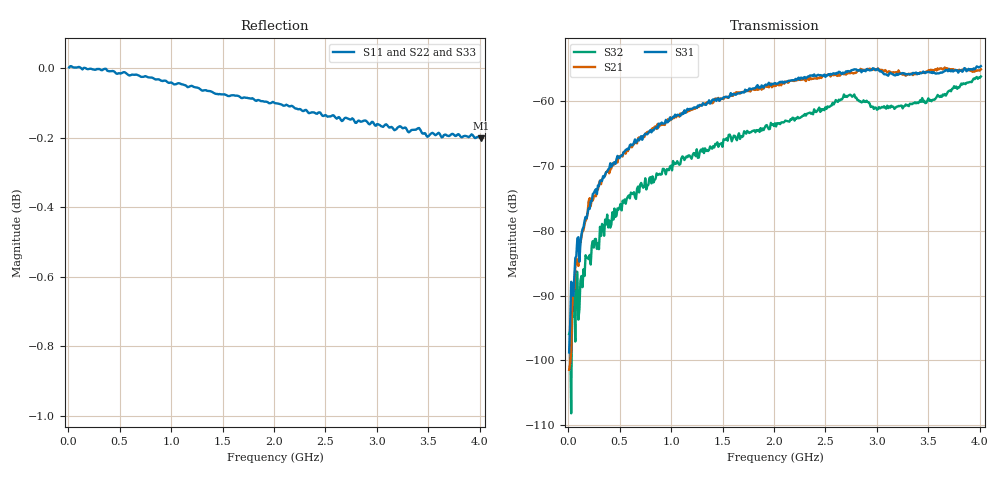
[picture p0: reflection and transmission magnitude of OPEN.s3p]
!Keysight Technologies,N5232A,MY52221226,A.10.49.03
!Date: Thursday, April 14, 2016 11:28:06
!Correction: S11(Full 6 Port(1,2,3,4,5,6))
!S12(Full 6 Port(1,2,3,4,5,6))
!S13(Full 6 Port(1,2,3,4,5,6))
!S21(Full 6 Port(1,2,3,4,5,6))
!S22(Full 6 Port(1,2,3,4,5,6))
!S23(Full 6 Port(1,2,3,4,5,6))
!S31(Full 6 Port(1,2,3,4,5,6))
!S32(Full 6 Port(1,2,3,4,5,6))
!S33(Full 6 Port(1,2,3,4,5,6))
!S3P File: Measurements: <S11,S12,S13>,
!<S21,S22,S23>,
!<S31,S32,S33>:
# Hz S  dB  R 50
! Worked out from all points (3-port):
!   401 points, 10 MHz to 4.01 GHz, reference 50 ohm
!   strongest paths, dB at 10 MHz, 1.01 GHz, 2.01 GHz, 3.01 GHz, 4.01 GHz:
!     S31: -98.8, -62.7, -57.3, -55.0, -54.7
!     S21: -101.5, -62.8, -57.7, -55.0, -55.2
!     S32: -95.9, -70.7, -63.5, -61.3, -56.3
!   lowest |S11| = -0.2 dB at 4.01 GHz (marker M1), VSWR 86.21, Z = 1.77 + j71.5 ohm
!   |S11| at or under -10 dB: nowhere
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1e7  0.00 -0.7  -100.70 144.6  -97.35 81.8
     -101.45 115.1  0.01 -0.7  -95.85 42.5
     -98.77 31.6  -95.95 109.5  0.00 -0.7
1.4e8  -0.00 -10.0  -79.71 85.4  -80.23 72.2
       -79.98 72.6  0.00 -9.8  -85.70 76.9
       -79.78 80.6  -88.71 70.1  -0.00 -9.9
5.2e8  -0.01 -36.2  -68.11 55.7  -67.92 53.2
       -68.37 55.9  -0.01 -36.2  -76.25 52.8
       -68.46 53.5  -76.89 55.0  -0.02 -36.7
1.09e9  -0.04 -77.7  -62.26 12.2  -61.88 11.3
        -61.96 13.8  -0.04 -76.3  -69.25 14.6
        -62.33 10.3  -69.76 16.0  -0.03 -76.9
1.54e9  -0.08 -110.1  -59.52 -20.1  -59.06 -19.3
        -59.46 -19.4  -0.06 -108.2  -66.20 -20.9
        -59.36 -20.4  -65.76 -17.5  -0.06 -109.6
2.01e9  -0.10 -145.2  -57.69 -55.3  -57.36 -56.6
        -57.74 -54.3  -0.09 -141.9  -63.53 -54.5
        -57.27 -55.6  -63.46 -55.8  -0.09 -143.9
2.43e9  -0.13 -177.0  -56.53 -86.7  -56.02 -89.9
        -56.48 -86.5  -0.12 -171.7  -61.30 -89.5
        -55.99 -90.0  -61.31 -89.9  -0.10 -174.7
2.86e9  -0.15 152.0  -55.22 -118.8  -55.54 -125.0
        -55.18 -119.5  -0.14 157.8  -60.43 -141.0
        -55.31 -125.6  -60.17 -138.7  -0.14 154.2
3.44e9  -0.19 109.5  -55.61 -163.1  -55.71 -169.0
        -55.69 -162.9  -0.18 117.4  -59.81 -172.3
        -55.69 -168.0  -59.57 -173.6  -0.17 112.2
4.01e9  -0.20 69.9  -55.19 151.8  -54.85 147.2
        -55.16 150.7  -0.20 78.4  -56.04 144.2
        -54.67 147.5  -56.25 143.4  -0.20 72.6
